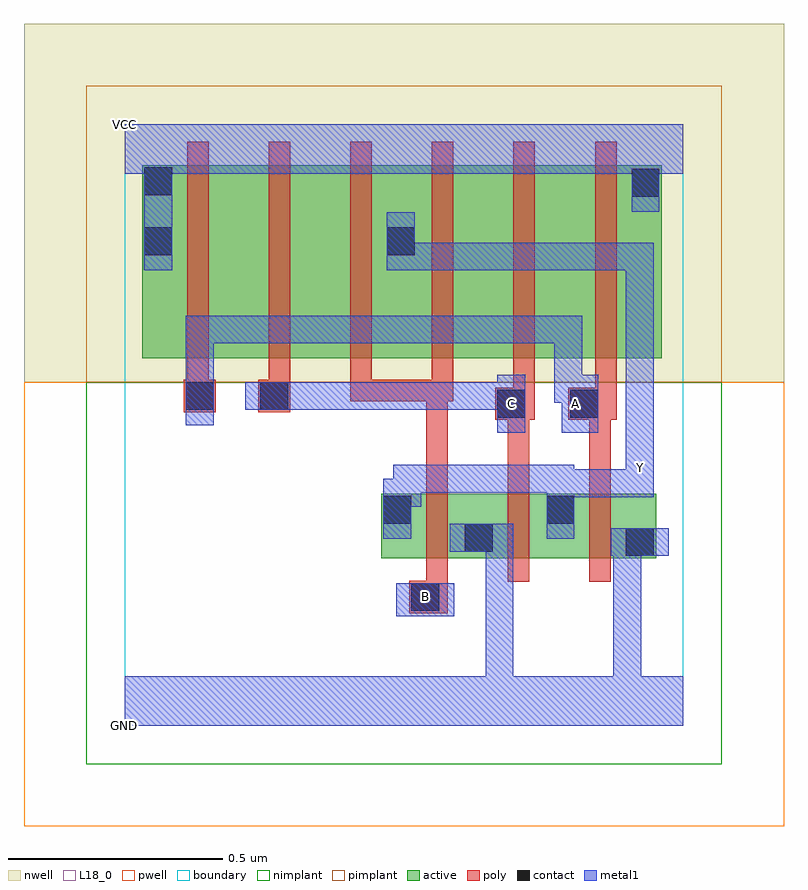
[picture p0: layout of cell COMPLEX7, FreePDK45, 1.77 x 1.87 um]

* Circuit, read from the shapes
.subckt COMPLEX7 A B C GND VCC Y
M1 GND B Y VSUBS nfet w=0.15u l=0.05u
M2 Y C GND VSUBS nfet w=0.15u l=0.05u
M3 GND A Y VSUBS nfet w=0.15u l=0.05u
M4 n1 A VCC n2 pfet w=0.45u l=0.05u
M5 n3 C n1 n2 pfet w=0.45u l=0.05u
M6 Y B n3 n2 pfet w=0.45u l=0.05u
M7 n4 B Y n2 pfet w=0.45u l=0.05u
M8 n5 C n4 n2 pfet w=0.45u l=0.05u
M9 VCC A n5 n2 pfet w=0.45u l=0.05u
.ends

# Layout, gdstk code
import gdstk
lib = gdstk.Library(unit=1e-6, precision=1e-09)
def R(c, l, rs):  # rectangles x0, y0, x1, y1
    for r in rs: c.add(gdstk.rectangle(r[:2], r[2:], *l))
def A(c, l, x, y, w, h, nx, ny, dx, dy):  # array of equal rectangles
    R(c, l, [(x+i*dx, y+j*dy, x+i*dx+w, y+j*dy+h) for i in range(nx) for j in range(ny)])
active = (1, 0)
pwell = (2, 0)
nwell = (3, 0)
nimplant = (4, 0)
pimplant = (5, 0)
poly = (9, 0)
contact = (10, 0)
metal1 = (11, 0)
L18_0 = (18, 0)
boundary = (235, 0)

complex7 = lib.new_cell('COMPLEX7')
R(complex7, active, [(0.597,0.39,0.672,0.54), (0.597,0.39,0.862,0.54), (0.787,0.39,1.052,0.54), (0.977,0.39,1.052,0.54), (0.977,0.39,1.237,0.54), (1.162,0.39,1.237,0.54), (0.787,0.4,0.862,0.475), (0.04,0.855,0.115,1.305), (0.04,0.855,0.265,1.305), (0.265,0.855,0.455,1.305), (0.455,0.855,0.68,1.305), (0.605,0.855,0.835,1.305), (0.605,0.855,0.68,1.2), (0.835,0.855,1.025,1.305), (1.025,0.855,1.25,1.305), (1.175,0.855,1.25,1.305)])
R(complex7, pwell, [(-0.235,-0.235,1.535,0.8)])
R(complex7, nwell, [(-0.235,0.8,1.535,1.635)])
R(complex7, nimplant, [(-0.09,-0.09,1.39,0.8)])
R(complex7, pimplant, [(-0.09,0.8,1.39,1.49)])
A(complex7, poly, 0.702, 0.335, 0.05, 0.26, 3, 1, 0.19, 0)
A(complex7, poly, 0.145, 0.755, 0.05, 0.095, 4, 1, 0.19, 0)
A(complex7, poly, 0.145, 0.8, 0.05, 0.56, 6, 1, 0.19, 0)
R(complex7, poly, [(0.662,0.262,0.752,0.337), (0.702,0.287,0.752,0.385), (0.702,0.545,0.752,0.805), (0.892,0.545,0.942,0.762), (1.082,0.545,1.132,0.762), (0.862,0.712,0.955,0.787), (1.032,0.712,1.145,0.787), (0.137,0.73,0.212,0.805), (0.31,0.73,0.385,0.805), (0.905,0.737,0.955,0.85), (1.095,0.737,1.145,0.85), (0.525,0.755,0.752,0.805), (0.525,0.755,0.575,0.805), (0.525,0.755,0.575,0.805), (0.525,0.755,0.575,0.805), (0.702,0.755,0.765,0.805)])
R(complex7, contact, [(0.667,0.267,0.732,0.332), (1.167,0.395,1.232,0.46), (0.792,0.405,0.857,0.47), (0.602,0.47,0.667,0.535), (0.982,0.47,1.047,0.535), (0.867,0.717,0.932,0.782), (1.037,0.717,1.102,0.782), (0.142,0.735,0.207,0.8), (0.315,0.735,0.38,0.8), (0.045,1.095,0.11,1.16), (0.61,1.095,0.675,1.16), (1.18,1.232,1.245,1.297), (0.045,1.235,0.11,1.3)])
R(complex7, metal1, [(0,0,1.3,0.115), (0.84,0.05,0.905,0.115), (0.84,0.05,0.905,0.115), (0.84,0.05,0.905,0.47), (1.137,0.05,1.202,0.115), (1.137,0.05,1.202,0.115), (1.137,0.05,1.202,0.46), (0.632,0.255,0.767,0.332), (1.132,0.395,1.267,0.46), (1.137,0.395,1.202,0.46), (1.137,0.395,1.202,0.46), (1.137,0.395,1.202,0.46), (1.137,0.395,1.202,0.46), (1.137,0.395,1.202,0.46), (1.137,0.395,1.202,0.46), (0.757,0.405,0.905,0.47), (0.84,0.405,0.905,0.47), (0.84,0.405,0.905,0.47), (0.84,0.405,0.905,0.47), (0.84,0.405,0.905,0.47), (0.84,0.405,0.905,0.47), (0.84,0.405,0.905,0.47), (0.602,0.435,0.667,0.575), (0.982,0.435,1.047,0.607), (0.602,0.51,0.69,0.575), (0.625,0.51,0.69,0.607), (0.982,0.532,1.232,0.597), (1.167,0.532,1.232,0.667), (1.167,0.532,1.232,0.597), (1.167,0.532,1.232,0.597), (1.167,0.532,1.232,0.597), (1.167,0.532,1.232,0.597), (0.625,0.542,0.905,0.607), (0.84,0.542,0.905,0.607), (0.84,0.542,0.905,0.607), (0.84,0.542,0.905,0.607), (0.84,0.542,1.047,0.607), (1.167,0.602,1.232,1.125), (0.867,0.682,0.932,0.817), (1.017,0.682,1.102,0.817), (0.142,0.7,0.207,0.835), (0.28,0.735,0.415,0.8), (0.35,0.735,0.415,0.8), (0.35,0.735,0.415,0.8), (0.35,0.735,0.552,0.8), (0.487,0.735,0.552,0.8), (0.487,0.735,0.552,0.8), (0.487,0.735,0.552,0.8), (0.487,0.735,0.69,0.8), (0.625,0.735,0.69,0.8), (0.625,0.735,0.905,0.8), (0.84,0.735,0.905,0.8), (0.84,0.735,0.932,0.8), (1,0.752,1.065,0.817), (1,0.752,1.082,0.817), (1,0.752,1.065,0.955), (0.142,0.77,0.207,0.835), (0.142,0.77,0.207,0.835), (0.142,0.77,0.207,0.955), (0.142,0.89,0.207,0.955), (0.142,0.89,0.415,0.955), (0.35,0.89,0.415,0.955), (0.35,0.89,0.415,0.955), (0.35,0.89,0.415,0.955), (0.35,0.89,0.552,0.955), (0.487,0.89,0.552,0.955), (0.487,0.89,0.552,0.955), (0.487,0.89,0.552,0.955), (0.487,0.89,0.767,0.955), (0.702,0.89,0.767,0.955), (0.702,0.89,0.827,0.955), (0.762,0.89,0.827,0.955), (0.762,0.89,0.922,0.955), (0.857,0.89,0.922,0.955), (0.857,0.89,1.065,0.955), (1,0.89,1.065,0.955), (0.045,1.06,0.11,1.335), (0.61,1.06,0.675,1.195), (0.61,1.06,0.69,1.125), (0.625,1.06,0.69,1.125), (0.625,1.06,0.91,1.125), (0.845,1.06,0.91,1.125), (0.845,1.06,0.91,1.125), (0.845,1.06,0.91,1.125), (0.845,1.06,1.06,1.125), (0.995,1.06,1.06,1.125), (0.995,1.06,1.232,1.125), (1.167,1.06,1.232,1.125), (1.167,1.06,1.232,1.125), (1.167,1.06,1.232,1.125), (1.167,1.06,1.232,1.125), (1.167,1.06,1.232,1.125), (1.18,1.197,1.245,1.332), (1.18,1.267,1.245,1.35), (0.045,1.27,0.11,1.35), (0,1.285,1.3,1.4)])
R(complex7, L18_0, [(0,0,1.3,0.115), (0.84,0.05,0.905,0.115), (0.84,0.05,0.905,0.115), (0.84,0.05,0.905,0.47), (1.137,0.05,1.202,0.115), (1.137,0.05,1.202,0.115), (1.137,0.05,1.202,0.46), (0.632,0.255,0.767,0.332), (0.667,0.267,0.732,0.332), (1.132,0.395,1.267,0.46), (1.137,0.395,1.202,0.46), (1.137,0.395,1.202,0.46), (1.137,0.395,1.202,0.46), (1.137,0.395,1.202,0.46), (1.137,0.395,1.202,0.46), (1.137,0.395,1.202,0.46), (0.757,0.405,0.905,0.47), (0.84,0.405,0.905,0.47), (0.84,0.405,0.905,0.47), (0.84,0.405,0.905,0.47), (0.84,0.405,0.905,0.47), (0.84,0.405,0.905,0.47), (0.84,0.405,0.905,0.47), (0.602,0.435,0.667,0.575), (0.982,0.435,1.047,0.607), (0.602,0.51,0.69,0.575), (0.625,0.51,0.69,0.607), (0.982,0.532,1.232,0.597), (1.167,0.532,1.232,0.667), (1.167,0.532,1.232,0.597), (1.167,0.532,1.232,0.597), (1.167,0.532,1.232,0.597), (1.167,0.532,1.232,0.597), (0.625,0.542,0.905,0.607), (0.84,0.542,0.905,0.607), (0.84,0.542,0.905,0.607), (0.84,0.542,0.905,0.607), (0.84,0.542,1.047,0.607), (1.167,0.567,1.232,0.632), (1.167,0.602,1.232,1.125), (0.867,0.682,0.932,0.817), (1.017,0.682,1.102,0.817), (0.142,0.7,0.207,0.835), (0.867,0.717,0.932,0.782), (1.017,0.717,1.082,0.782), (0.28,0.735,0.415,0.8), (0.35,0.735,0.415,0.8), (0.35,0.735,0.415,0.8), (0.35,0.735,0.552,0.8), (0.487,0.735,0.552,0.8), (0.487,0.735,0.552,0.8), (0.487,0.735,0.552,0.8), (0.487,0.735,0.69,0.8), (0.625,0.735,0.69,0.8), (0.625,0.735,0.905,0.8), (0.84,0.735,0.905,0.8), (0.84,0.735,0.932,0.8), (1,0.752,1.065,0.817), (1,0.752,1.065,0.955), (1,0.752,1.082,0.817), (0.142,0.77,0.207,0.835), (0.142,0.77,0.207,0.835), (0.142,0.77,0.207,0.955), (0.142,0.89,0.207,0.955), (0.142,0.89,0.415,0.955), (0.35,0.89,0.415,0.955), (0.35,0.89,0.415,0.955), (0.35,0.89,0.415,0.955), (0.35,0.89,0.552,0.955), (0.487,0.89,0.552,0.955), (0.487,0.89,0.552,0.955), (0.487,0.89,0.552,0.955), (0.487,0.89,0.767,0.955), (0.702,0.89,0.767,0.955), (0.702,0.89,0.827,0.955), (0.762,0.89,0.827,0.955), (0.762,0.89,0.922,0.955), (0.857,0.89,0.922,0.955), (0.857,0.89,1.065,0.955), (1,0.89,1.065,0.955), (0.045,1.06,0.11,1.335), (0.61,1.06,0.675,1.195), (0.61,1.06,0.69,1.125), (0.625,1.06,0.69,1.125), (0.625,1.06,0.91,1.125), (0.845,1.06,0.91,1.125), (0.845,1.06,0.91,1.125), (0.845,1.06,0.91,1.125), (0.845,1.06,1.06,1.125), (0.995,1.06,1.06,1.125), (0.995,1.06,1.232,1.125), (1.167,1.06,1.232,1.125), (1.167,1.06,1.232,1.125), (1.167,1.06,1.232,1.125), (1.167,1.06,1.232,1.125), (1.167,1.06,1.232,1.125), (1.18,1.197,1.245,1.332), (1.18,1.267,1.245,1.35), (0.045,1.27,0.11,1.35), (0,1.285,1.3,1.4)])
R(complex7, boundary, [(0,0,1.3,1.4)])
complex7.add(gdstk.Label('A', (1.05,0.75), layer=11, texttype=0))
complex7.add(gdstk.Label('B', (0.7,0.3), layer=11, texttype=0))
complex7.add(gdstk.Label('C', (0.9,0.75), layer=11, texttype=0))
complex7.add(gdstk.Label('Y', (1.2,0.6), layer=11, texttype=0))
complex7.add(gdstk.Label('VCC', (0,1.4), layer=11, texttype=0))
complex7.add(gdstk.Label('GND', (0,0), layer=11, texttype=0))

lib.write_gds('COMPLEX7.gds')
